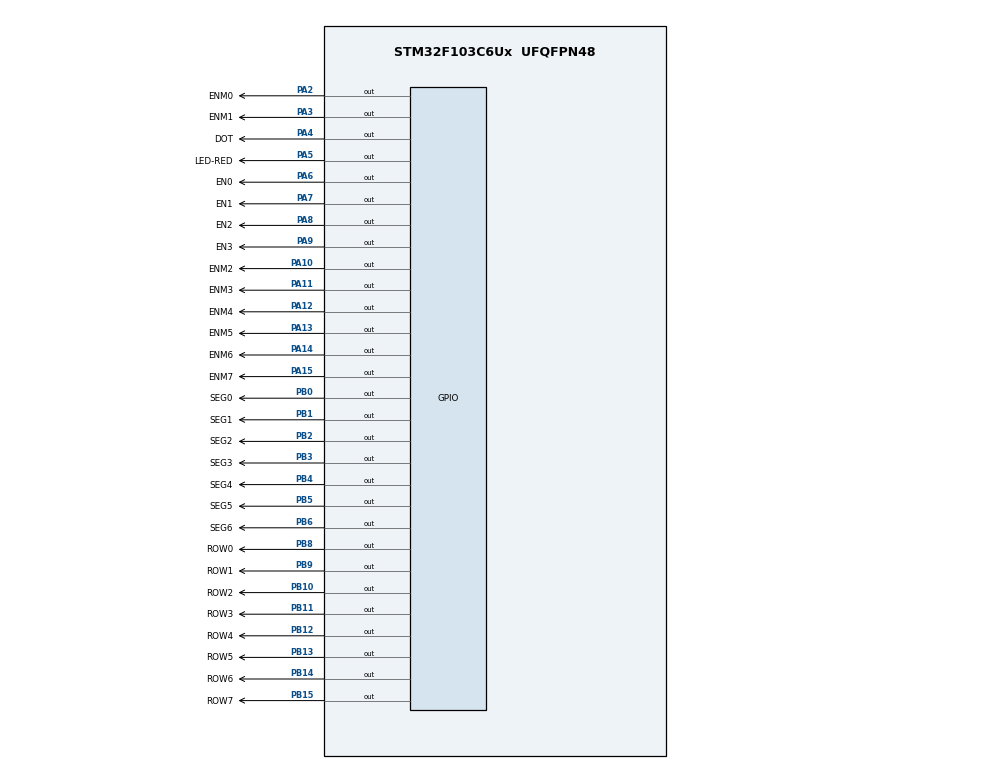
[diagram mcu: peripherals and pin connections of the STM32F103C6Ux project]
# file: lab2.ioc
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Mcu.Family=STM32F1
Mcu.Name=STM32F103C6Ux
Mcu.Package=UFQFPN48
NVIC.PriorityGroup=NVIC_PRIORITYGROUP_4
NVIC.TIM2_IRQn=true\:0\:0\:false\:false\:true\:true\:true
PA10.GPIO_Label=ENM2
PA10.Signal=GPIO_Output
PA11.GPIO_Label=ENM3
PA11.Signal=GPIO_Output
PA12.GPIO_Label=ENM4
PA12.Signal=GPIO_Output
PA13.GPIO_Label=ENM5
PA13.Signal=GPIO_Output
PA14.GPIO_Label=ENM6
PA14.Signal=GPIO_Output
PA15.GPIO_Label=ENM7
PA15.Signal=GPIO_Output
PA2.GPIO_Label=ENM0
PA2.Signal=GPIO_Output
PA3.GPIO_Label=ENM1
PA3.Signal=GPIO_Output
PA4.GPIO_Label=DOT
PA4.Signal=GPIO_Output
PA5.GPIO_Label=LED-RED
PA5.Signal=GPIO_Output
PA6.GPIO_Label=EN0
PA6.Signal=GPIO_Output
PA7.GPIO_Label=EN1
PA7.Signal=GPIO_Output
PA8.GPIO_Label=EN2
PA8.Signal=GPIO_Output
PA9.GPIO_Label=EN3
PA9.Signal=GPIO_Output
PB0.GPIO_Label=SEG0
PB0.Signal=GPIO_Output
PB1.GPIO_Label=SEG1
PB1.Signal=GPIO_Output
PB10.GPIO_Label=ROW2
PB10.Signal=GPIO_Output
PB11.GPIO_Label=ROW3
PB11.Signal=GPIO_Output
PB12.GPIO_Label=ROW4
PB12.Signal=GPIO_Output
PB13.GPIO_Label=ROW5
PB13.Signal=GPIO_Output
PB14.GPIO_Label=ROW6
PB14.Signal=GPIO_Output
PB15.GPIO_Label=ROW7
PB15.Signal=GPIO_Output
PB2.GPIO_Label=SEG2
PB2.Signal=GPIO_Output
PB3.GPIO_Label=SEG3
PB3.Signal=GPIO_Output
PB4.GPIO_Label=SEG4
PB4.Signal=GPIO_Output
PB5.GPIO_Label=SEG5
PB5.Signal=GPIO_Output
PB6.GPIO_Label=SEG6
PB6.Signal=GPIO_Output
PB8.GPIO_Label=ROW0
PB8.Signal=GPIO_Output
PB9.GPIO_Label=ROW1
PB9.Signal=GPIO_Output
ProjectManager.HeapSize=0x200
ProjectManager.StackSize=0x400
ProjectManager.TargetToolchain=STM32CubeIDE
RCC.APB1Freq_Value=8000000
RCC.APB2Freq_Value=8000000
TIM2.Period=10
TIM2.Prescaler=399
VP_SYS_VS_ND.Mode=No_Debug
VP_TIM2_VS_ClockSourceINT.Mode=Internal
board=custom

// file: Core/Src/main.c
/* USER CODE BEGIN Header */
/**
  ******************************************************************************
  * @file           : main.c
  * @brief          : Main program body
  ******************************************************************************
  * @attention
  *
  * <h2><center>&copy; Copyright (c) 2022 STMicroelectronics.
  * All rights reserved.</center></h2>
  *
  * This software component is licensed by ST under BSD 3-Clause license,
  * the "License"; You may not use this file except in compliance with the
  * License. You may obtain a copy of the License at:
  *                        opensource.org/licenses/BSD-3-Clause
  *
  ******************************************************************************
  */
/* USER CODE END Header */
#include "main.h"

/* USER CODE BEGIN Includes */
#include "software_timer.h"
/* USER CODE END Includes */

TIM_HandleTypeDef htim2;

void SystemClock_Config(void);
static void MX_GPIO_Init(void);
static void MX_TIM2_Init(void);
/* USER CODE BEGIN PFP */
const int MAX_LED_MATRIX = 8;
int index_led_matrix = 0;
uint8_t matrix_buffer [8] = {0x30 , 0x0C , 0x03 , 0x0C , 0x30 , 0xC0 , 0x30 , 0x0C};
void updateLEDMatrix (int index ) {
switch ( index ) {
	case 0:
		GPIOB->ODR=0xFF*256-matrix_buffer[0]*256;
		GPIOA->ODR=0xFFF8;
		break ;
	case 1:
		GPIOB->ODR=0xFF*256-matrix_buffer[1]*256;
		GPIOA->ODR=0xFFF7;
		break ;
	case 2:
		GPIOB->ODR=0xFF*256-matrix_buffer[2]*256;
		GPIOA->ODR=0xFBFF;
		break ;
	case 3:
		GPIOB->ODR=0xFF*256-matrix_buffer[3]*256;
		GPIOA->ODR=0xF7FF;
		break ;
	case 4:
		GPIOB->ODR=0xFF*256-matrix_buffer[4]*256;
		GPIOA->ODR=0xEFFF;
		break ;
	case 5:
		GPIOB->ODR=0xFF*256-matrix_buffer[5]*256;
		GPIOA->ODR=0xDFFF;
		break ;
	case 6:
		GPIOB->ODR=0xFF*256-matrix_buffer[6]*256;
		GPIOA->ODR=0xBFFF;
		break ;
	case 7:
		GPIOB->ODR=0xFF*256-matrix_buffer[7]*256;
		GPIOA->ODR=0x7FFF;
		break ;
	default:
		break;
}
}
/* USER CODE END PFP */

int main(void)
{

  /* MCU Configuration--------------------------------------------------------*/

  /* Reset of all peripherals, Initializes the Flash interface and the Systick. */
  HAL_Init();

  /* Configure the system clock */
  SystemClock_Config();

  /* Initialize all configured peripherals */
  MX_GPIO_Init();
  MX_TIM2_Init();

  /* Infinite loop */
  /* USER CODE BEGIN WHILE */
  HAL_TIM_Base_Start_IT(&htim2);
    int index=7;
      setTimer1(1);
      while (1)
      {
        /* USER CODE END WHILE */
    	  if(timer1_flag==1)
    	  {
    		  updateLEDMatrix(index--);
    		  if(index<0) index=7;
    		  setTimer1(150);

    	  }

      }
}

void SystemClock_Config(void)
{
  RCC_OscInitTypeDef RCC_OscInitStruct = {0};
  RCC_ClkInitTypeDef RCC_ClkInitStruct = {0};

  /** Initializes the RCC Oscillators according to the specified parameters
  * in the RCC_OscInitTypeDef structure.
  */
  RCC_OscInitStruct.OscillatorType = RCC_OSCILLATORTYPE_HSI;
  RCC_OscInitStruct.HSIState = RCC_HSI_ON;
  RCC_OscInitStruct.HSICalibrationValue = RCC_HSICALIBRATION_DEFAULT;
  RCC_OscInitStruct.PLL.PLLState = RCC_PLL_NONE;
  if (HAL_RCC_OscConfig(&RCC_OscInitStruct) != HAL_OK)
  {
    Error_Handler();
  }
  /** Initializes the CPU, AHB and APB buses clocks
  */
  RCC_ClkInitStruct.ClockType = RCC_CLOCKTYPE_HCLK|RCC_CLOCKTYPE_SYSCLK
                              |RCC_CLOCKTYPE_PCLK1|RCC_CLOCKTYPE_PCLK2;
  RCC_ClkInitStruct.SYSCLKSource = RCC_SYSCLKSOURCE_HSI;
  RCC_ClkInitStruct.AHBCLKDivider = RCC_SYSCLK_DIV1;
  RCC_ClkInitStruct.APB1CLKDivider = RCC_HCLK_DIV1;
  RCC_ClkInitStruct.APB2CLKDivider = RCC_HCLK_DIV1;

  if (HAL_RCC_ClockConfig(&RCC_ClkInitStruct, FLASH_LATENCY_0) != HAL_OK)
  {
    Error_Handler();
  }
}

static void MX_TIM2_Init(void)
{

  TIM_ClockConfigTypeDef sClockSourceConfig = {0};
  TIM_MasterConfigTypeDef sMasterConfig = {0};

  htim2.Instance = TIM2;
  htim2.Init.Prescaler = 399;
  htim2.Init.CounterMode = TIM_COUNTERMODE_UP;
  htim2.Init.Period = 10;
  htim2.Init.ClockDivision = TIM_CLOCKDIVISION_DIV1;
  htim2.Init.AutoReloadPreload = TIM_AUTORELOAD_PRELOAD_DISABLE;
  if (HAL_TIM_Base_Init(&htim2) != HAL_OK)
  {
    Error_Handler();
  }
  sClockSourceConfig.ClockSource = TIM_CLOCKSOURCE_INTERNAL;
  if (HAL_TIM_ConfigClockSource(&htim2, &sClockSourceConfig) != HAL_OK)
  {
    Error_Handler();
  }
  sMasterConfig.MasterOutputTrigger = TIM_TRGO_RESET;
  sMasterConfig.MasterSlaveMode = TIM_MASTERSLAVEMODE_DISABLE;
  if (HAL_TIMEx_MasterConfigSynchronization(&htim2, &sMasterConfig) != HAL_OK)
  {
    Error_Handler();
  }

}

static void MX_GPIO_Init(void)
{
  GPIO_InitTypeDef GPIO_InitStruct = {0};

  /* GPIO Ports Clock Enable */
  __HAL_RCC_GPIOA_CLK_ENABLE();
  __HAL_RCC_GPIOB_CLK_ENABLE();

  /*Configure GPIO pin Output Level */
  HAL_GPIO_WritePin(GPIOA, ENM0_Pin|ENM1_Pin|DOT_Pin|LED_RED_Pin
                          |EN0_Pin|EN1_Pin|EN2_Pin|EN3_Pin
                          |ENM2_Pin|ENM3_Pin|ENM4_Pin|ENM5_Pin
                          |ENM6_Pin|ENM7_Pin, GPIO_PIN_RESET);

  /*Configure GPIO pin Output Level */
  HAL_GPIO_WritePin(GPIOB, SEG0_Pin|SEG1_Pin|SEG2_Pin|ROW2_Pin
                          |ROW3_Pin|ROW4_Pin|ROW5_Pin|ROW6_Pin
                          |ROW7_Pin|SEG3_Pin|SEG4_Pin|SEG5_Pin
                          |SEG6_Pin|ROW0_Pin|ROW1_Pin, GPIO_PIN_RESET);

  /*Configure GPIO pins : ENM0_Pin ENM1_Pin DOT_Pin LED_RED_Pin
                           EN0_Pin EN1_Pin EN2_Pin EN3_Pin
                           ENM2_Pin ENM3_Pin ENM4_Pin ENM5_Pin
                           ENM6_Pin ENM7_Pin */
  GPIO_InitStruct.Pin = ENM0_Pin|ENM1_Pin|DOT_Pin|LED_RED_Pin
                          |EN0_Pin|EN1_Pin|EN2_Pin|EN3_Pin
                          |ENM2_Pin|ENM3_Pin|ENM4_Pin|ENM5_Pin
                          |ENM6_Pin|ENM7_Pin;
  GPIO_InitStruct.Mode = GPIO_MODE_OUTPUT_PP;
  GPIO_InitStruct.Pull = GPIO_NOPULL;
  GPIO_InitStruct.Speed = GPIO_SPEED_FREQ_LOW;
  HAL_GPIO_Init(GPIOA, &GPIO_InitStruct);

  /*Configure GPIO pins : SEG0_Pin SEG1_Pin SEG2_Pin ROW2_Pin
                           ROW3_Pin ROW4_Pin ROW5_Pin ROW6_Pin
                           ROW7_Pin SEG3_Pin SEG4_Pin SEG5_Pin
                           SEG6_Pin ROW0_Pin ROW1_Pin */
  GPIO_InitStruct.Pin = SEG0_Pin|SEG1_Pin|SEG2_Pin|ROW2_Pin
                          |ROW3_Pin|ROW4_Pin|ROW5_Pin|ROW6_Pin
                          |ROW7_Pin|SEG3_Pin|SEG4_Pin|SEG5_Pin
                          |SEG6_Pin|ROW0_Pin|ROW1_Pin;
  GPIO_InitStruct.Mode = GPIO_MODE_OUTPUT_PP;
  GPIO_InitStruct.Pull = GPIO_NOPULL;
  GPIO_InitStruct.Speed = GPIO_SPEED_FREQ_LOW;
  HAL_GPIO_Init(GPIOB, &GPIO_InitStruct);

}

/* USER CODE BEGIN 4 */
//int counter1=0;
//int counter2=100;
int stage=0;
void HAL_TIM_PeriodElapsedCallback(TIM_HandleTypeDef *htim)
{
	timerRun1();
	timerRun2();

}
void display7Seg(int num){
	switch(num){
	case 0:
		GPIOB->ODR = 0x0040;
		break;
	case 1:
		GPIOB->ODR = 0x0079;
		break;
	case 2:
		GPIOB->ODR = 0x00A4;
		break;
	case 3:
		GPIOB->ODR = 0x0030;
		break;
	case 4:
		GPIOB->ODR = 0x0019;
		break;
	case 5:
		GPIOB->ODR = 0x0012;
		break;
	case 6:
		GPIOB->ODR = 0x0002;
		break;
	case 7:
		GPIOB->ODR = 0x0078;
		break;
	case 8:
		GPIOB->ODR = 0x0000;
		break;
	case 9:
		GPIOB->ODR = 0x0010;
		break;
	default:
		break;

	}
}
void updateClockBuffer(int hour,int minute)
{
}
/* USER CODE END 4 */

void Error_Handler(void)
{
  __disable_irq();
  while (1)
  {
  }
}

/************************ (C) COPYRIGHT STMicroelectronics *****END OF FILE****/
